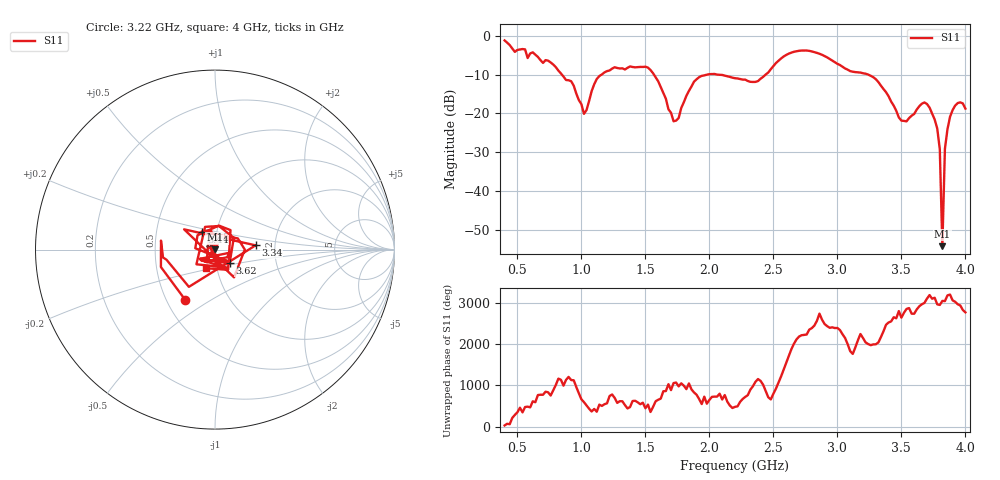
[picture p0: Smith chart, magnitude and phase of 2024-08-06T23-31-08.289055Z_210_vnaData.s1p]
!Created with skrf (http://scikit-rf.org).
# Hz S RI R 50.0
!freq ReS11 ImS11
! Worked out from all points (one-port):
!   181 points, 400 MHz to 4 GHz, reference 50 ohm
!   lowest |S11| = -54.3 dB at 3.82 GHz (marker M1), VSWR 1.00, Z = 49.8 + j0.0613 ohm
!   |S11| at or under -10 dB: 1.566 GHz to 1.984 GHz (418 MHz wide, 23.5 % of centre); 2.059 GHz to 2.44 GHz (380.4 MHz wide, 16.9 % of centre); 3.241 GHz to end of sweep (the widest 3 of 4)
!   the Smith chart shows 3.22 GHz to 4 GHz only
!   S11 on the Smith chart (normalised r, x): 3.22 GHz: 0.62, -0.39; 3.34 GHz: 1.58, +0.08; 3.44 GHz: 0.84, +0.17; 3.62 GHz: 1.16, -0.18; 4 GHz: 0.89, -0.19
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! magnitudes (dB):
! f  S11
! 400 MHz  -1.2
! 860 MHz  -10.5
! 940 MHz  -12.9
! 1.02 GHz  -20.1
! 1.12 GHz  -11.1
! 1.3 GHz  -8.4
! 1.52 GHz  -8.2
! 1.72 GHz  -22.0
! 1.76 GHz  -21.2
! 1.92 GHz  -10.7
! 2.2 GHz  -10.9
! 2.38 GHz  -11.7
! 2.66 GHz  -4.1
! 3.1 GHz  -9.1
! 3.22 GHz  -9.8
! 3.34 GHz  -12.9
! 3.44 GHz  -18.0
! 3.5 GHz  -21.9
! 3.56 GHz  -21.2
! 3.62 GHz  -19.0
! 3.7 GHz  -17.6
! 3.78 GHz  -23.9
! 3.8 GHz  -29.2
! 3.82 GHz  -54.3
! 3.84 GHz  -29.2
! 3.86 GHz  -24.1
! 3.92 GHz  -18.0
! 4 GHz  -18.8
